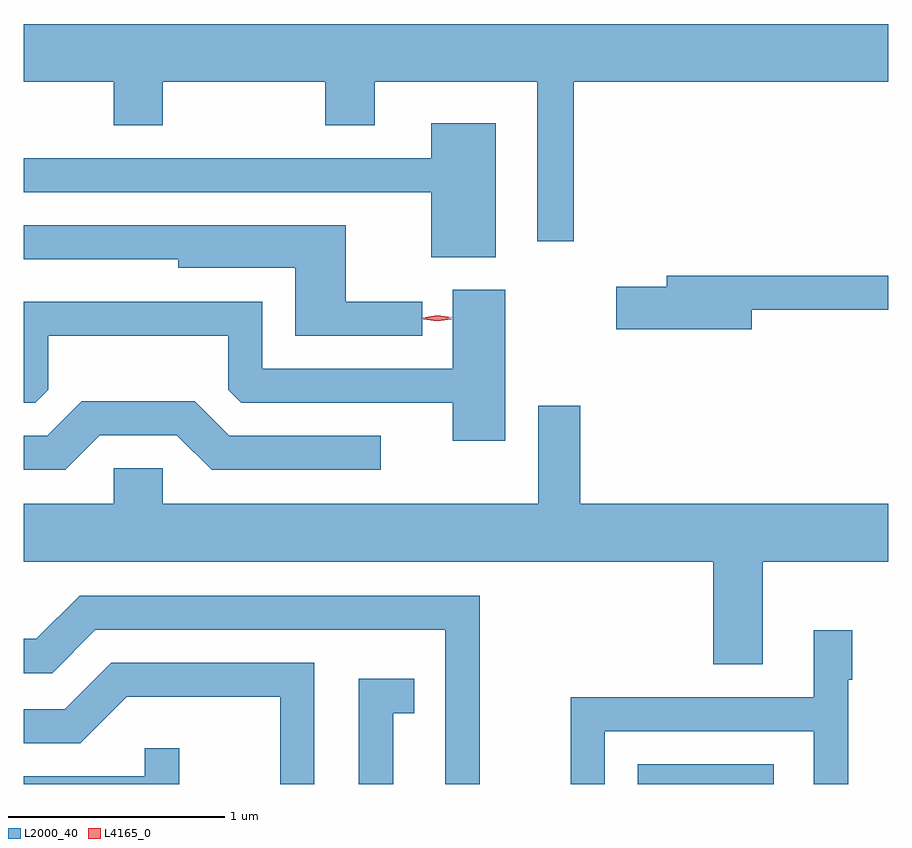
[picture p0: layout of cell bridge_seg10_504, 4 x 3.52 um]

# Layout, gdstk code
import gdstk
lib = gdstk.Library(unit=1e-6, precision=1e-09)
def R(c, l, rs):  # rectangles x0, y0, x1, y1
    for r in rs: c.add(gdstk.rectangle(r[:2], r[2:], *l))
def P(c, l, *ps):  # polygons
    for p in ps: c.add(gdstk.Polygon(p, *l))
L2000_40 = (2000, 40)
L4165_0 = (4165, 0)

bridge_seg10_504 = lib.new_cell('bridge_seg10_504')
R(bridge_seg10_504, L2000_40, [(809.586,2186.148,810.214,2186.239)])
P(bridge_seg10_504, L2000_40, [(809.289,2189.396),(810.745,2189.396),(810.745,2189.664),(806.745,2189.664),(806.745,2189.396),(807.161,2189.396),(807.161,2189.196),(807.389,2189.196),(807.389,2189.396),(808.141,2189.396),(808.141,2189.196),(808.369,2189.196),(808.369,2189.396),(809.121,2189.396),(809.121,2188.658),(809.289,2188.658)],
  [(808.929,2189.204),(808.631,2189.204),(808.631,2189.044),(806.745,2189.044),(806.745,2188.886),(808.631,2188.886),(808.631,2188.586),(808.929,2188.586)],
  [(808.588,2188.379),(808.234,2188.379),(808.234,2188.734),(806.745,2188.734),(806.745,2188.576),(807.461,2188.576),(807.461,2188.536),(808.001,2188.536),(808.001,2188.221),(808.588,2188.221)],
  [(810.114,2188.341),(810.745,2188.341),(810.745,2188.499),(809.721,2188.499),(809.721,2188.449),(809.486,2188.449),(809.486,2188.251),(810.114,2188.251)],
  [(808.974,2188.434),(808.731,2188.434),(808.731,2188.069),(807.849,2188.069),(807.849,2188.379),(806.745,2188.379),(806.745,2187.911),(806.799,2187.911),(806.859,2187.972),(806.859,2188.221),(807.691,2188.221),(807.691,2187.972),(807.752,2187.911),(808.731,2187.911),(808.731,2187.736),(808.974,2187.736)],
  [(807.097,2187.761),(807.454,2187.761),(807.614,2187.601),(808.398,2187.601),(808.398,2187.759),(807.697,2187.759),(807.537,2187.919),(807.014,2187.919),(806.854,2187.759),(806.745,2187.759),(806.745,2187.601),(806.937,2187.601)],
  [(810.164,2187.176),(810.745,2187.176),(810.745,2187.444),(809.319,2187.444),(809.319,2187.899),(809.126,2187.899),(809.126,2187.444),(807.389,2187.444),(807.389,2187.609),(807.161,2187.609),(807.161,2187.444),(806.745,2187.444),(806.745,2187.176),(809.936,2187.176),(809.936,2186.701),(810.164,2186.701)],
  [(808.854,2187.019),(807.004,2187.019),(806.804,2186.819),(806.745,2186.819),(806.745,2186.661),(806.877,2186.661),(807.077,2186.861),(808.696,2186.861),(808.696,2186.148),(808.854,2186.148)],
  [(809.434,2186.391),(810.401,2186.391),(810.401,2186.148),(810.559,2186.148),(810.559,2186.631),(810.579,2186.631),(810.579,2186.859),(810.401,2186.859),(810.401,2186.549),(809.276,2186.549),(809.276,2186.148),(809.434,2186.148)],
  [(808.089,2186.709),(807.149,2186.709),(806.934,2186.494),(806.745,2186.494),(806.745,2186.336),(807.007,2186.336),(807.222,2186.551),(807.931,2186.551),(807.931,2186.148),(808.089,2186.148)],
  [(808.454,2186.476),(808.553,2186.476),(808.553,2186.634),(808.296,2186.634),(808.296,2186.148),(808.454,2186.148)],
  [(807.464,2186.313),(807.306,2186.313),(807.306,2186.184),(806.745,2186.184),(806.745,2186.148),(807.464,2186.148)])
P(bridge_seg10_504, L4165_0, [(808.658,2188.296),(808.59,2188.305),(808.589,2188.306),(808.59,2188.306),(808.658,2188.316),(808.726,2188.308),(808.727,2188.307),(808.726,2188.307)],
  [(808.659,2188.289),(808.593,2188.298),(808.593,2188.299),(808.593,2188.3),(808.659,2188.309),(808.724,2188.3),(808.725,2188.299),(808.724,2188.298)])

lib.write_gds('bridge_seg10_504.gds')
